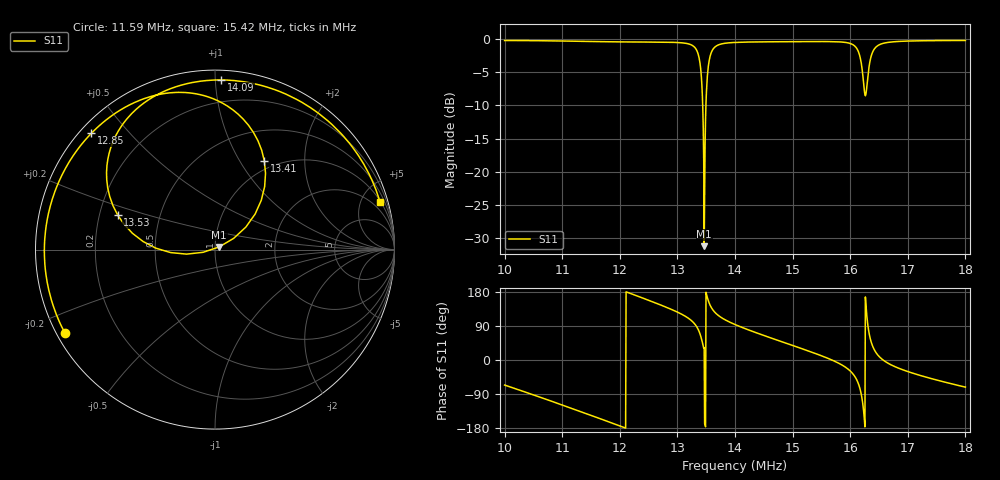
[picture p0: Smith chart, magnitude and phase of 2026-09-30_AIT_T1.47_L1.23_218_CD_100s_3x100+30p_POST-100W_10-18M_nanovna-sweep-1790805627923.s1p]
! NanoVNA Web complex sweep
! Processing: unaveraged complex samples; linear segment spacing; no smoothing
# Hz S RI R 50
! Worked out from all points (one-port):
!   1010 points, 10 MHz to 18 MHz, reference 50 ohm
!   lowest |S11| = -31.2 dB at 13.46 MHz (marker M1), VSWR 1.06, Z = 52.3 + j1.56 ohm
!   |S11| at or under -10 dB: 13.43921 MHz to 13.49556 MHz (56.34 kHz wide, 0.418 % of centre)
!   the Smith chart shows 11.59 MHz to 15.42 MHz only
!   S11 on the Smith chart (normalised r, x): 11.59 MHz: 0.02, -0.26; 12.85 MHz: 0.03, +0.40; 13.41 MHz: 0.89, +1.28; 13.53 MHz: 0.28, +0.16; 14.09 MHz: 0.06, +1.04; 15.42 MHz: 1.10, +6.91
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1e7  0.3945 -0.891
1.100698e7  -0.4699 -0.8439
1.15858e7  -0.8356 -0.466
1.200604e7  -0.9469 -0.0944
1.284651e7  -0.6888 0.6481
1.300509e7  -0.5537 0.7608
1.329846e7  -0.0832 0.8633
1.340947e7  0.275 0.4927
1.343326e7  0.2579 0.2748
1.346497e7  0.0232 0.0149
1.349669e7  -0.3292 0.00781
1.35284e7  -0.5427 0.1934
1.368698e7  -0.4532 0.7687
1.400414e7  -0.0554 0.9412
1.409136e7  0.035 0.9453
1.50032e7  0.7501 0.5911
1.541551e7  0.9195 0.2648
1.600225e7  0.8068 -0.4501
1.60974e7  0.5853 -0.642
1.616876e7  0.1909 -0.7148
1.624805e7  -0.378 -0.136
1.629563e7  -0.1331 0.4487
1.633527e7  0.2712 0.5901
1.63987e7  0.679 0.4465
1.647006e7  0.8563 0.2283
1.667622e7  0.9309 -0.1663
1.700131e7  0.8314 -0.4903
1.800036e7  0.3083 -0.9254
